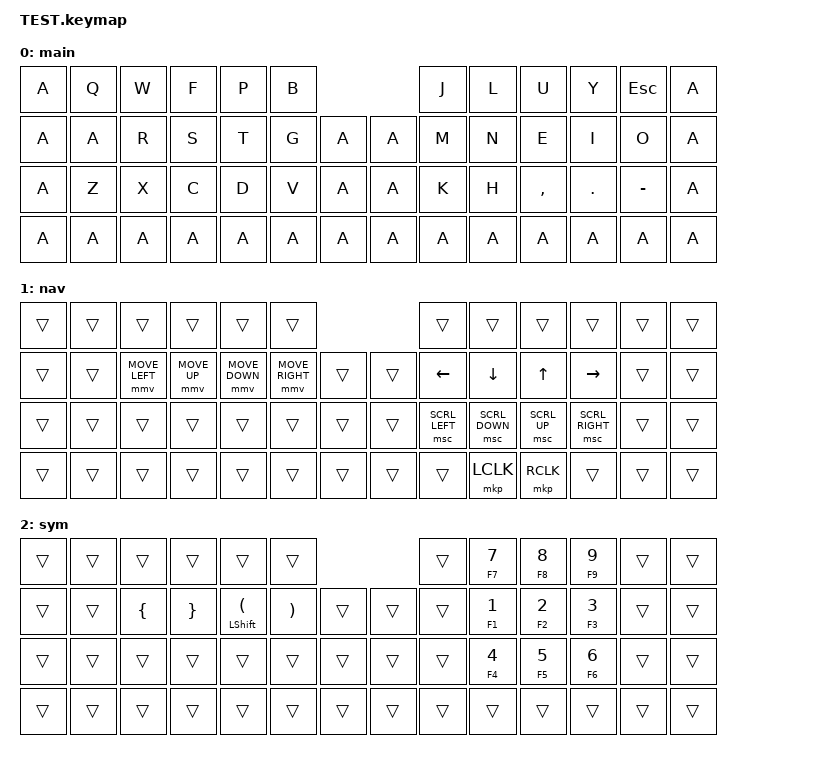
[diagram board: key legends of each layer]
#include <behaviors.dtsi>
#include <dt-bindings/zmk/bt.h>
#include <dt-bindings/zmk/keys.h>
#include <dt-bindings/zmk/pointing.h>

/ {
    combos {
        compatible = "zmk,combos";

        enter {
            bindings = <&kp ENTER>;
            key-positions = <21 22 23 24>;
            layers = <0>;
        };

        del {
            bindings = <&kp DEL>;
            key-positions = <7 8 9 10>;
            layers = <0>;
        };

        pair {
            bindings = <&bt BT_CLR>;
            key-positions = <41 40>;
        };
    };

    keymap {
        compatible = "zmk,keymap";

        main {
            bindings = <
&kp A  &kp Q  &kp W  &kp F  &kp P        &kp B                    &kp J  &kp L  &kp U      &kp Y       &kp ESC    &kp A
&kp A  &kp A  &kp R  &kp S  &kp T        &kp G  &kp A      &kp A  &kp M  &kp N  &kp E      &kp I       &kp O      &kp A
&kp A  &kp Z  &kp X  &kp C  &kp D        &kp V  &kp A      &kp A  &kp K  &kp H  &kp COMMA  &kp PERIOD  &kp MINUS  &kp A
&kp A  &kp A  &kp A  &kp A  &kp A        &kp A  &kp A      &kp A  &kp A  &kp A  &kp A      &kp A       &kp A      &kp A
            >;
        };

        nav {
            bindings = <
&trans  &trans  &trans          &trans        &trans          &trans                               &trans          &trans          &trans        &trans           &trans  &trans
&trans  &trans  &mmv MOVE_LEFT  &mmv MOVE_UP  &mmv MOVE_DOWN  &mmv MOVE_RIGHT  &trans      &trans  &kp LEFT_ARROW  &kp DOWN_ARROW  &kp UP_ARROW  &kp RIGHT_ARROW  &trans  &trans
&trans  &trans  &trans          &trans        &trans          &trans           &trans      &trans  &msc SCRL_LEFT  &msc SCRL_DOWN  &msc SCRL_UP  &msc SCRL_RIGHT  &trans  &trans
&trans  &trans  &trans          &trans        &trans          &trans           &trans      &trans  &trans          &mkp LCLK       &mkp RCLK     &trans           &trans  &trans
            >;
        };

        sym {
            bindings = <
&trans  &trans  &trans    &trans    &trans           &trans                        &trans  &mt F7 N7  &mt F8 N8  &mt F9 N9  &trans  &trans
&trans  &trans  &kp LBRC  &kp RBRC  &mt LSHIFT LPAR  &kp RPAR  &trans      &trans  &trans  &mt F1 N1  &mt F2 N2  &mt F3 N3  &trans  &trans
&trans  &trans  &trans    &trans    &trans           &trans    &trans      &trans  &trans  &mt F4 N4  &mt F5 N5  &mt F6 N6  &trans  &trans
&trans  &trans  &trans    &trans    &trans           &trans    &trans      &trans  &trans  &trans     &trans     &trans     &trans  &trans
            >;
        };
    };
};
